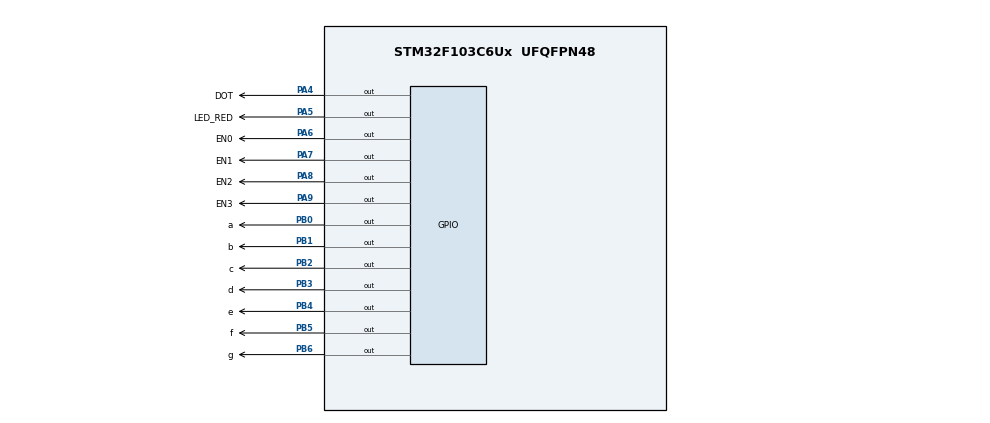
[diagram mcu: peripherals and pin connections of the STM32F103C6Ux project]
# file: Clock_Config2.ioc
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Mcu.Family=STM32F1
Mcu.Name=STM32F103C6Ux
Mcu.Package=UFQFPN48
NVIC.PriorityGroup=NVIC_PRIORITYGROUP_4
NVIC.TIM2_IRQn=true\:0\:0\:false\:false\:true\:true\:true
PA4.GPIO_Label=DOT
PA4.Signal=GPIO_Output
PA5.GPIO_Label=LED_RED
PA5.Signal=GPIO_Output
PA6.GPIO_Label=EN0
PA6.Signal=GPIO_Output
PA7.GPIO_Label=EN1
PA7.Signal=GPIO_Output
PA8.GPIO_Label=EN2
PA8.Signal=GPIO_Output
PA9.GPIO_Label=EN3
PA9.Signal=GPIO_Output
PB0.GPIO_Label=a
PB0.Signal=GPIO_Output
PB1.GPIO_Label=b
PB1.Signal=GPIO_Output
PB2.GPIO_Label=c
PB2.Signal=GPIO_Output
PB3.GPIO_Label=d
PB3.Signal=GPIO_Output
PB4.GPIO_Label=e
PB4.Signal=GPIO_Output
PB5.GPIO_Label=f
PB5.Signal=GPIO_Output
PB6.GPIO_Label=g
PB6.Signal=GPIO_Output
ProjectManager.HeapSize=0x200
ProjectManager.StackSize=0x400
ProjectManager.TargetToolchain=STM32CubeIDE
RCC.APB1Freq_Value=8000000
RCC.APB2Freq_Value=8000000
TIM2.Period=9
TIM2.Prescaler=7999
VP_SYS_VS_ND.Mode=No_Debug
VP_TIM2_VS_ClockSourceINT.Mode=Internal
board=custom

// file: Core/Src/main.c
/* USER CODE BEGIN Header */
/**
  ******************************************************************************
  * @file           : main.c
  * @brief          : Main program body
  ******************************************************************************
  * @attention
  *
  * <h2><center>&copy; Copyright (c) 2025 STMicroelectronics.
  * All rights reserved.</center></h2>
  *
  * This software component is licensed by ST under BSD 3-Clause license,
  * the "License"; You may not use this file except in compliance with the
  * License. You may obtain a copy of the License at:
  *                        opensource.org/licenses/BSD-3-Clause
  *
  ******************************************************************************
  */
/* USER CODE END Header */
#include "main.h"

TIM_HandleTypeDef htim2;

void SystemClock_Config(void);
static void MX_GPIO_Init(void);
static void MX_TIM2_Init(void);

/* USER CODE BEGIN 0 */
uint8_t seg_digits[10][7] = {
	{1, 1, 1, 1, 1, 1, 0}, // 0
	{0, 1, 1, 0, 0, 0, 0}, // 1
	{1, 1, 0, 1, 1, 0, 1}, // 2
	{1, 1, 1, 1, 0, 0, 1}, // 3
	{0, 1, 1, 0, 0, 1, 1}, // 4
	{1, 0, 1, 1, 0, 1, 1}, // 5
	{1, 0, 1, 1, 1, 1, 1}, // 6
	{1, 1, 1, 0, 0, 0, 0}, // 7
	{1, 1, 1, 1, 1, 1, 1}, // 8
	{1, 1, 1, 1, 0, 1, 1}  // 9
};
void display7SEG(uint8_t num) {
    // Directly set/reset the pins for each segment (a-g) of the 7-segment display
    HAL_GPIO_WritePin(GPIOB, GPIO_PIN_0, seg_digits[num][0] ? GPIO_PIN_RESET : GPIO_PIN_SET);  // Segment A
    HAL_GPIO_WritePin(GPIOB, GPIO_PIN_1, seg_digits[num][1] ? GPIO_PIN_RESET : GPIO_PIN_SET);  // Segment B
    HAL_GPIO_WritePin(GPIOB, GPIO_PIN_2, seg_digits[num][2] ? GPIO_PIN_RESET : GPIO_PIN_SET);  // Segment C
    HAL_GPIO_WritePin(GPIOB, GPIO_PIN_3, seg_digits[num][3] ? GPIO_PIN_RESET : GPIO_PIN_SET);  // Segment D
    HAL_GPIO_WritePin(GPIOB, GPIO_PIN_4, seg_digits[num][4] ? GPIO_PIN_RESET : GPIO_PIN_SET);  // Segment E
    HAL_GPIO_WritePin(GPIOB, GPIO_PIN_5, seg_digits[num][5] ? GPIO_PIN_RESET : GPIO_PIN_SET);  // Segment F
    HAL_GPIO_WritePin(GPIOB, GPIO_PIN_6, seg_digits[num][6] ? GPIO_PIN_RESET : GPIO_PIN_SET);  // Segment G
}
/* USER CODE END 0 */

int main(void)
{

  /* MCU Configuration--------------------------------------------------------*/

  /* Reset of all peripherals, Initializes the Flash interface and the Systick. */
  HAL_Init();

  /* Configure the system clock */
  SystemClock_Config();

  /* Initialize all configured peripherals */
  MX_GPIO_Init();
  MX_TIM2_Init();
  /* USER CODE BEGIN 2 */
  HAL_TIM_Base_Start_IT (& htim2 ) ;
  /* USER CODE END 2 */

  /* Infinite loop */
  while (1)
  {

  }
}

void SystemClock_Config(void)
{
  RCC_OscInitTypeDef RCC_OscInitStruct = {0};
  RCC_ClkInitTypeDef RCC_ClkInitStruct = {0};

  /** Initializes the RCC Oscillators according to the specified parameters
  * in the RCC_OscInitTypeDef structure.
  */
  RCC_OscInitStruct.OscillatorType = RCC_OSCILLATORTYPE_HSI;
  RCC_OscInitStruct.HSIState = RCC_HSI_ON;
  RCC_OscInitStruct.HSICalibrationValue = RCC_HSICALIBRATION_DEFAULT;
  RCC_OscInitStruct.PLL.PLLState = RCC_PLL_NONE;
  if (HAL_RCC_OscConfig(&RCC_OscInitStruct) != HAL_OK)
  {
    Error_Handler();
  }
  /** Initializes the CPU, AHB and APB buses clocks
  */
  RCC_ClkInitStruct.ClockType = RCC_CLOCKTYPE_HCLK|RCC_CLOCKTYPE_SYSCLK
                              |RCC_CLOCKTYPE_PCLK1|RCC_CLOCKTYPE_PCLK2;
  RCC_ClkInitStruct.SYSCLKSource = RCC_SYSCLKSOURCE_HSI;
  RCC_ClkInitStruct.AHBCLKDivider = RCC_SYSCLK_DIV1;
  RCC_ClkInitStruct.APB1CLKDivider = RCC_HCLK_DIV1;
  RCC_ClkInitStruct.APB2CLKDivider = RCC_HCLK_DIV1;

  if (HAL_RCC_ClockConfig(&RCC_ClkInitStruct, FLASH_LATENCY_0) != HAL_OK)
  {
    Error_Handler();
  }
}

static void MX_TIM2_Init(void)
{

  TIM_ClockConfigTypeDef sClockSourceConfig = {0};
  TIM_MasterConfigTypeDef sMasterConfig = {0};

  htim2.Instance = TIM2;
  htim2.Init.Prescaler = 7999;
  htim2.Init.CounterMode = TIM_COUNTERMODE_UP;
  htim2.Init.Period = 9;
  htim2.Init.ClockDivision = TIM_CLOCKDIVISION_DIV1;
  htim2.Init.AutoReloadPreload = TIM_AUTORELOAD_PRELOAD_DISABLE;
  if (HAL_TIM_Base_Init(&htim2) != HAL_OK)
  {
    Error_Handler();
  }
  sClockSourceConfig.ClockSource = TIM_CLOCKSOURCE_INTERNAL;
  if (HAL_TIM_ConfigClockSource(&htim2, &sClockSourceConfig) != HAL_OK)
  {
    Error_Handler();
  }
  sMasterConfig.MasterOutputTrigger = TIM_TRGO_RESET;
  sMasterConfig.MasterSlaveMode = TIM_MASTERSLAVEMODE_DISABLE;
  if (HAL_TIMEx_MasterConfigSynchronization(&htim2, &sMasterConfig) != HAL_OK)
  {
    Error_Handler();
  }

}

static void MX_GPIO_Init(void)
{
  GPIO_InitTypeDef GPIO_InitStruct = {0};

  /* GPIO Ports Clock Enable */
  __HAL_RCC_GPIOA_CLK_ENABLE();
  __HAL_RCC_GPIOB_CLK_ENABLE();

  /*Configure GPIO pin Output Level */
  HAL_GPIO_WritePin(GPIOA, DOT_Pin|LED_RED_Pin|EN0_Pin|EN1_Pin
                          |EN2_Pin|EN3_Pin, GPIO_PIN_RESET);

  /*Configure GPIO pin Output Level */
  HAL_GPIO_WritePin(GPIOB, a_Pin|b_Pin|c_Pin|d_Pin
                          |e_Pin|f_Pin|g_Pin, GPIO_PIN_RESET);

  /*Configure GPIO pins : DOT_Pin LED_RED_Pin EN0_Pin EN1_Pin
                           EN2_Pin EN3_Pin */
  GPIO_InitStruct.Pin = DOT_Pin|LED_RED_Pin|EN0_Pin|EN1_Pin
                          |EN2_Pin|EN3_Pin;
  GPIO_InitStruct.Mode = GPIO_MODE_OUTPUT_PP;
  GPIO_InitStruct.Pull = GPIO_NOPULL;
  GPIO_InitStruct.Speed = GPIO_SPEED_FREQ_LOW;
  HAL_GPIO_Init(GPIOA, &GPIO_InitStruct);

  /*Configure GPIO pins : a_Pin b_Pin c_Pin d_Pin
                           e_Pin f_Pin g_Pin */
  GPIO_InitStruct.Pin = a_Pin|b_Pin|c_Pin|d_Pin
                          |e_Pin|f_Pin|g_Pin;
  GPIO_InitStruct.Mode = GPIO_MODE_OUTPUT_PP;
  GPIO_InitStruct.Pull = GPIO_NOPULL;
  GPIO_InitStruct.Speed = GPIO_SPEED_FREQ_LOW;
  HAL_GPIO_Init(GPIOB, &GPIO_InitStruct);

}

/* USER CODE BEGIN 4 */
int counter = 100;
int currentLED = 0;
int time=50;
void HAL_TIM_PeriodElapsedCallback ( TIM_HandleTypeDef * htim ){

	if (htim->Instance == TIM2) {   // Ví dụ dùng TIM2
		counter--;
		if( counter <= 0){
			counter = 100;
			HAL_GPIO_TogglePin(LED_RED_GPIO_Port, LED_RED_Pin);
			HAL_GPIO_TogglePin(DOT_GPIO_Port, DOT_Pin);
		}
		time--;
		if(time<=0){
			time=50;
			if (currentLED == 0) {
				HAL_GPIO_WritePin(GPIOA, GPIO_PIN_6, GPIO_PIN_RESET);
				HAL_GPIO_WritePin(GPIOA, GPIO_PIN_7, GPIO_PIN_SET);
				HAL_GPIO_WritePin(GPIOA, GPIO_PIN_8, GPIO_PIN_SET);
				HAL_GPIO_WritePin(GPIOA, GPIO_PIN_9, GPIO_PIN_SET);
				display7SEG(1);
				currentLED = 1;
			} else if(currentLED == 1) {
				HAL_GPIO_WritePin(GPIOA, GPIO_PIN_6, GPIO_PIN_SET);
				HAL_GPIO_WritePin(GPIOA, GPIO_PIN_7, GPIO_PIN_RESET);
				HAL_GPIO_WritePin(GPIOA, GPIO_PIN_8, GPIO_PIN_SET);
				HAL_GPIO_WritePin(GPIOA, GPIO_PIN_9, GPIO_PIN_SET);
				display7SEG(2);
				currentLED = 2;
			} else if(currentLED == 2) {
				HAL_GPIO_WritePin(GPIOA, GPIO_PIN_6, GPIO_PIN_SET);
				HAL_GPIO_WritePin(GPIOA, GPIO_PIN_7, GPIO_PIN_SET);
				HAL_GPIO_WritePin(GPIOA, GPIO_PIN_8, GPIO_PIN_RESET);
				HAL_GPIO_WritePin(GPIOA, GPIO_PIN_9, GPIO_PIN_SET);
				display7SEG(3);
				currentLED = 3;
			} else if(currentLED == 3) {
				HAL_GPIO_WritePin(GPIOA, GPIO_PIN_6, GPIO_PIN_SET);
				HAL_GPIO_WritePin(GPIOA, GPIO_PIN_7, GPIO_PIN_SET);
				HAL_GPIO_WritePin(GPIOA, GPIO_PIN_8, GPIO_PIN_SET);
				HAL_GPIO_WritePin(GPIOA, GPIO_PIN_9, GPIO_PIN_RESET);
				display7SEG(0);
				currentLED = 0;
			}
		}
	}
}
/* USER CODE END 4 */

void Error_Handler(void)
{
  __disable_irq();
  while (1)
  {
  }
}

/************************ (C) COPYRIGHT STMicroelectronics *****END OF FILE****/
